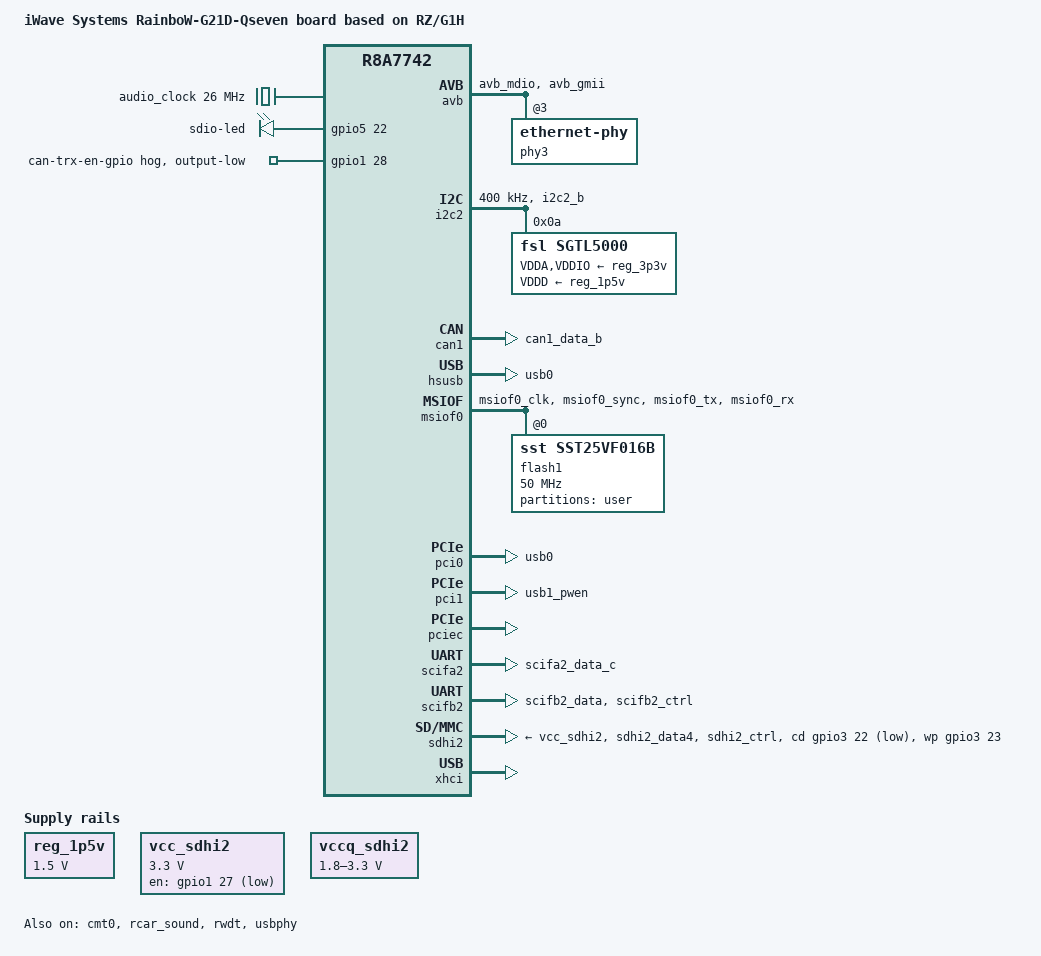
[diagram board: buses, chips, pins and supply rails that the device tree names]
// SPDX-License-Identifier: GPL-2.0
/*
 * Device Tree Source for the iWave-RZ/G1H Qseven board
 *
 * Copyright (C) 2020 Renesas Electronics Corp.
 */

/*
 * SSI-SGTL5000
 *
 * This command is required when Playback/Capture
 *
 *      amixer set "DVC Out" 100%
 *      amixer set "DVC In" 100%
 *
 * You can use Mute
 *
 *      amixer set "DVC Out Mute" on
 *      amixer set "DVC In Mute" on
 *
 * You can use Volume Ramp
 *
 *      amixer set "DVC Out Ramp Up Rate"   "0.125 dB/64 steps"
 *      amixer set "DVC Out Ramp Down Rate" "0.125 dB/512 steps"
 *      amixer set "DVC Out Ramp" on
 *      aplay xxx.wav &
 *      amixer set "DVC Out"  80%  // Volume Down
 *      amixer set "DVC Out" 100%  // Volume Up
 */

/dts-v1/;
#include "r8a7742-iwg21m.dtsi"

/ {
	model = "iWave Systems RainboW-G21D-Qseven board based on RZ/G1H";
	compatible = "iwave,g21d", "iwave,g21m", "renesas,r8a7742";

	aliases {
		serial2 = &scifa2;
		serial4 = &scifb2;
		ethernet0 = &avb;
	};

	chosen {
		bootargs = "ignore_loglevel root=/dev/mmcblk0p1 rw rootwait";
		stdout-path = "serial2:115200n8";
	};

	audio_clock: audio_clock {
		compatible = "fixed-clock";
		#clock-cells = <0>;
		clock-frequency = <26000000>;
	};

	leds {
		compatible = "gpio-leds";

		sdhi2_led {
			label = "sdio-led";
			gpios = <&gpio5 22 GPIO_ACTIVE_HIGH>;
			linux,default-trigger = "mmc1";
		};
	};

	reg_1p5v: 1p5v {
		compatible = "regulator-fixed";
		regulator-name = "1P5V";
		regulator-min-microvolt = <1500000>;
		regulator-max-microvolt = <1500000>;
		regulator-always-on;
	};

	rsnd_sgtl5000: sound {
		compatible = "simple-audio-card";
		simple-audio-card,format = "i2s";
		simple-audio-card,bitclock-master = <&sndcodec>;
		simple-audio-card,frame-master = <&sndcodec>;

		sndcpu: simple-audio-card,cpu {
			sound-dai = <&rcar_sound>;
		};

		sndcodec: simple-audio-card,codec {
			sound-dai = <&sgtl5000>;
		};
	};

	vcc_sdhi2: regulator-vcc-sdhi2 {
		compatible = "regulator-fixed";

		regulator-name = "SDHI2 Vcc";
		regulator-min-microvolt = <3300000>;
		regulator-max-microvolt = <3300000>;

		gpio = <&gpio1 27 GPIO_ACTIVE_LOW>;
	};

	vccq_sdhi2: regulator-vccq-sdhi2 {
		compatible = "regulator-gpio";

		regulator-name = "SDHI2 VccQ";
		regulator-min-microvolt = <1800000>;
		regulator-max-microvolt = <3300000>;

		gpios = <&gpio1 8 GPIO_ACTIVE_HIGH>;
		gpios-states = <1>;
		states = <3300000 1>, <1800000 0>;
	};
};

&avb {
	pinctrl-0 = <&avb_pins>;
	pinctrl-names = "default";

	phy-handle = <&phy3>;
	phy-mode = "gmii";
	renesas,no-ether-link;
	status = "okay";

	phy3: ethernet-phy@3 {
		reg = <3>;
		micrel,led-mode = <1>;
	};
};

&i2c2 {
	pinctrl-0 = <&i2c2_pins>;
	pinctrl-names = "default";

	status = "okay";
	clock-frequency = <400000>;

	sgtl5000: codec@a {
		compatible = "fsl,sgtl5000";
		#sound-dai-cells = <0>;
		reg = <0x0a>;
		clocks = <&audio_clock>;
		VDDA-supply = <&reg_3p3v>;
		VDDIO-supply = <&reg_3p3v>;
		VDDD-supply = <&reg_1p5v>;
	};
};

&can1 {
	pinctrl-0 = <&can1_pins>;
	pinctrl-names = "default";

	status = "okay";
};

&cmt0 {
	status = "okay";
};

&gpio1 {
	can-trx-en-gpio{
		gpio-hog;
		gpios = <28 GPIO_ACTIVE_HIGH>;
		output-low;
		line-name = "can-trx-en-gpio";
	};
};

&hsusb {
	pinctrl-0 = <&usb0_pins>;
	pinctrl-names = "default";
	status = "okay";
};

&msiof0 {
	pinctrl-0 = <&msiof0_pins>;
	pinctrl-names = "default";
	cs-gpios = <&gpio5 13 GPIO_ACTIVE_LOW>;

	status = "okay";

	flash1: flash@0 {
		compatible = "sst,sst25vf016b", "jedec,spi-nor";
		reg = <0>;
		spi-max-frequency = <50000000>;
		m25p,fast-read;

		partitions {
			compatible = "fixed-partitions";
			#address-cells = <1>;
			#size-cells = <1>;

			partition@0 {
				label = "user";
				reg = <0x00000000 0x00200000>;
			};
		};
	};
};

&pci0 {
	pinctrl-0 = <&usb0_pins>;
	pinctrl-names = "default";
	/* Disable hsusb to enable USB2.0 host mode support on J2 */
	/* status = "okay"; */
};

&pci1 {
	pinctrl-0 = <&usb1_pins>;
	pinctrl-names = "default";
	status = "okay";
};

&pci2 {
	/* Disable xhci to enable USB2.0 host mode support on J23 bottom port */
	/* status = "okay"; */
};

&pcie_bus_clk {
	clock-frequency = <100000000>;
};

&pciec {
	/* SW2[6] determines which connector is activated
	 * ON = PCIe X4 (connector-J7)
	 * OFF = mini-PCIe (connector-J26)
	 */
	status = "okay";
};

&pfc {
	avb_pins: avb {
		groups = "avb_mdio", "avb_gmii";
		function = "avb";
	};

	can1_pins: can1 {
		groups = "can1_data_b";
		function = "can1";
	};

	i2c2_pins: i2c2 {
		groups = "i2c2_b";
		function = "i2c2";
	};

	msiof0_pins: msiof0 {
		groups = "msiof0_clk", "msiof0_sync", "msiof0_tx", "msiof0_rx";
		function = "msiof0";
	};

	scifa2_pins: scifa2 {
		groups = "scifa2_data_c";
		function = "scifa2";
	};

	scifb2_pins: scifb2 {
		groups = "scifb2_data", "scifb2_ctrl";
		function = "scifb2";
	};

	sdhi2_pins: sd2 {
		groups = "sdhi2_data4", "sdhi2_ctrl";
		function = "sdhi2";
		power-source = <3300>;
	};

	sdhi2_pins_uhs: sd2_uhs {
		groups = "sdhi2_data4", "sdhi2_ctrl";
		function = "sdhi2";
		power-source = <1800>;
	};

	sound_pins: sound {
		groups = "ssi34_ctrl", "ssi3_data", "ssi4_data";
		function = "ssi";
	};

	usb0_pins: usb0 {
		groups = "usb0";
		function = "usb0";
	};

	usb1_pins: usb1 {
		groups = "usb1_pwen";
		function = "usb1";
	};
};

&rcar_sound {
	pinctrl-0 = <&sound_pins>;
	pinctrl-names = "default";
	status = "okay";

	/* Single DAI */
	#sound-dai-cells = <0>;

	rcar_sound,dai {
		dai0 {
			playback = <&ssi4 &src4 &dvc1>;
			capture = <&ssi3 &src3 &dvc0>;
		};
	};
};

&rwdt {
	timeout-sec = <60>;
	status = "okay";
};

&scifa2 {
	pinctrl-0 = <&scifa2_pins>;
	pinctrl-names = "default";

	status = "okay";
};

&scifb2 {
	pinctrl-0 = <&scifb2_pins>;
	pinctrl-names = "default";

	uart-has-rtscts;
	status = "okay";
};

&sdhi2 {
	pinctrl-0 = <&sdhi2_pins>;
	pinctrl-1 = <&sdhi2_pins_uhs>;
	pinctrl-names = "default", "state_uhs";

	vmmc-supply = <&vcc_sdhi2>;
	vqmmc-supply = <&vccq_sdhi2>;
	cd-gpios = <&gpio3 22 GPIO_ACTIVE_LOW>;
	wp-gpios = <&gpio3 23 GPIO_ACTIVE_HIGH>;
	sd-uhs-sdr50;
	status = "okay";
};

&ssi4 {
	shared-pin;
};

&usbphy {
	status = "okay";
};

&xhci {
	status = "okay";
};
